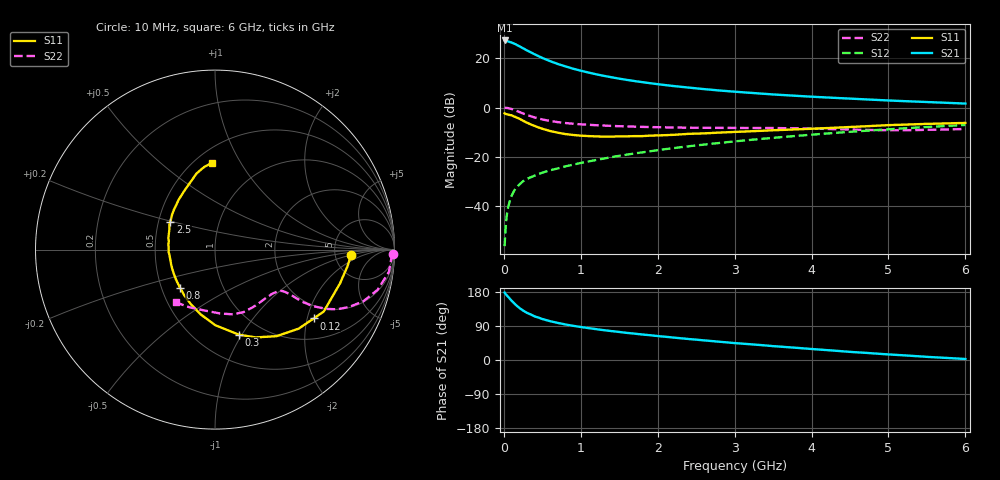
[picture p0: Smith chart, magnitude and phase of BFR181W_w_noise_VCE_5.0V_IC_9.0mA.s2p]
! Infineon Technologies  Discrete & RF Semiconductors
! BFR181W
! VCE =  5.0 V,  IC =  9.0 mA
! Common Emitter S-Parameters:  Jan 2017
# GHz  S  MA  R  50
!  f  S11  S21  S12  S22
! GHz  MAG  ANG  MAG  ANG  MAG  ANG  MAG  ANG
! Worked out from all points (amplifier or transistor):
!   77 points, 10 MHz to 6 GHz, reference 50 ohm
!   highest |S21| = 27.3 dB at 10 MHz (marker M1)
!   |S21| within 3 dB of that: start of sweep to 239.5 MHz
!   unconditionally stable (mu >= 1): 1.06 GHz to 3.029 GHz
!   at 130 MHz: K = 0.25, MSG = 30.1 dB, |S12| = -34.2 dB
!   at 2.2 GHz: K = 1.06, MAG = 11.2 dB, |S12| = -16.6 dB
!   at 6 GHz: K = 0.85, MSG = 4.4 dB, |S12| = -7.1 dB
!   lowest NFmin = 1.18 dB at 450 MHz
!   S11 on the Smith chart (normalised r, x): 10 MHz: 7.17, -0.99; 120 MHz: 1.57, -2.19; 300 MHz: 0.77, -0.97; 800 MHz: 0.62, -0.29; 2.5 GHz: 0.58, +0.20; 6 GHz: 0.60, +0.77
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0.01  0.7594 -2.2  23.19 178.0  0.0015 84.4  0.9939 -1.4
0.02  0.7436 -7.3  22.94 174.8  0.003 92.6  0.9842 -2.7
0.05  0.7215 -15.1  22.38 167.9  0.0084 81.7  0.977 -7.3
0.1  0.6973 -29.7  21.09 156.5  0.0157 76.7  0.9333 -13.9
0.12  0.6705 -34.9  20.39 152.7  0.0183 74.3  0.9086 -16.0
0.15  0.6416 -43.3  19.52 146.5  0.0222 71.7  0.8739 -19.3
0.2  0.5918 -54.6  17.72 137.7  0.0268 67.9  0.812 -23.2
0.25  0.5388 -65.2  16.09 130.5  0.0316 63.8  0.7559 -26.1
0.3  0.4914 -74.5  14.55 124.5  0.035 62.1  0.7041 -28.0
0.4  0.4214 -89.7  12.11 115.1  0.041 60.7  0.6268 -30.1
0.5  0.3697 -102.5  10.21 108.2  0.0471 60.8  0.5714 -30.8
0.6  0.3322 -113.9  8.816 102.5  0.0527 61.0  0.5328 -30.9
0.7  0.3071 -123.8  7.716 97.9  0.0573 61.8  0.5041 -30.8
0.8  0.288 -132.7  6.874 93.8  0.0634 63.2  0.4834 -30.9
1.1  0.2616 -155.2  5.152 84.2  0.0797 64.8  0.4449 -31.4
1.5  0.2587 -177.0  3.87 74.0  0.104 66.1  0.4159 -34.3
2.1  0.2733 159.7  2.862 61.3  0.1419 66.0  0.3941 -41.9
2.5  0.2936 148.2  2.456 53.7  0.1688 64.9  0.3867 -48.6
3.1  0.3225 134.0  2.044 43.2  0.2113 62.3  0.3829 -59.0
4.1  0.375 116.0  1.63 27.6  0.2873 56.0  0.3694 -76.8
5.1  0.4423 102.2  1.369 13.5  0.3679 47.9  0.344 -102.0
6  0.4853 91.7  1.203 2.6  0.4416 39.6  0.3662 -126.7
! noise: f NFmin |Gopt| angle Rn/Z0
0.45  1.18  0.17  16  0.21
0.9  1.23  0.16  31  0.21
1.9  1.65  0.05  107  0.2
2.4  1.82  0.03  116  0.23
